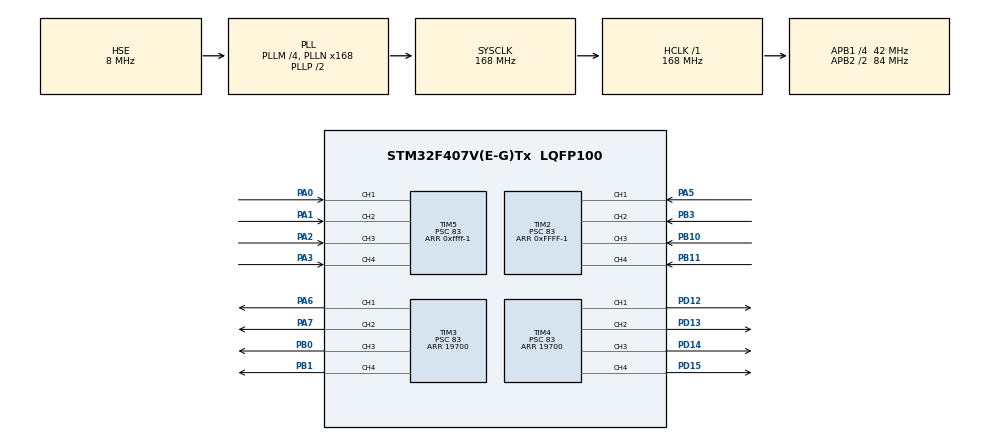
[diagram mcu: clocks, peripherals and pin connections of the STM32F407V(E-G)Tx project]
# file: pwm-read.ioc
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Mcu.Family=STM32F4
Mcu.Name=STM32F407V(E-G)Tx
Mcu.Package=LQFP100
NVIC.PriorityGroup=NVIC_PRIORITYGROUP_4
NVIC.TIM2_IRQn=true\:0\:0\:false\:false\:true\:true\:true\:true
NVIC.TIM5_IRQn=true\:0\:0\:false\:false\:true\:true\:true\:true
PA0-WKUP.Signal=S_TIM5_CH1
PA1.Signal=S_TIM5_CH2
PA2.Signal=S_TIM5_CH3
PA3.Signal=S_TIM5_CH4
PA5.Signal=S_TIM2_CH1_ETR
PA6.Signal=S_TIM3_CH1
PA7.Signal=S_TIM3_CH2
PB0.Signal=S_TIM3_CH3
PB1.Signal=S_TIM3_CH4
PB10.Signal=S_TIM2_CH3
PB11.Signal=S_TIM2_CH4
PB3.Signal=S_TIM2_CH2
PD12.Signal=S_TIM4_CH1
PD13.Signal=S_TIM4_CH2
PD14.Signal=S_TIM4_CH3
PD15.Signal=S_TIM4_CH4
PH0-OSC_IN.Mode=HSE-External-Oscillator
PH0-OSC_IN.Signal=RCC_OSC_IN
PH1-OSC_OUT.Mode=HSE-External-Oscillator
PH1-OSC_OUT.Signal=RCC_OSC_OUT
ProjectManager.HeapSize=0x200
ProjectManager.StackSize=0x400
ProjectManager.TargetToolchain=STM32CubeIDE
RCC.48MHZClocksFreq_Value=84000000
RCC.AHBFreq_Value=168000000
RCC.APB1CLKDivider=RCC_HCLK_DIV4
RCC.APB1Freq_Value=42000000
RCC.APB1TimFreq_Value=84000000
RCC.APB2CLKDivider=RCC_HCLK_DIV2
RCC.APB2Freq_Value=84000000
RCC.APB2TimFreq_Value=168000000
RCC.CortexFreq_Value=168000000
RCC.HCLKFreq_Value=168000000
RCC.HSE_VALUE=8000000
RCC.HSI_VALUE=16000000
RCC.LSE_VALUE=32768
RCC.PLLM=4
RCC.PLLN=168
RCC.PLLSourceVirtual=RCC_PLLSOURCE_HSE
RCC.SYSCLKFreq_VALUE=168000000
RCC.SYSCLKSource=RCC_SYSCLKSOURCE_PLLCLK
RCC.VCOOutputFreq_Value=336000000
SH.S_TIM2_CH1_ETR.0=TIM2_CH1,Input_Capture1_from_TI1
SH.S_TIM2_CH2.0=TIM2_CH2,Input_Capture2_from_TI2
SH.S_TIM2_CH3.0=TIM2_CH3,Input_Capture3_from_TI3
SH.S_TIM2_CH4.0=TIM2_CH4,Input_Capture4_from_TI4
SH.S_TIM3_CH1.0=TIM3_CH1,PWM Generation1 CH1
SH.S_TIM3_CH2.0=TIM3_CH2,PWM Generation2 CH2
SH.S_TIM3_CH3.0=TIM3_CH3,PWM Generation3 CH3
SH.S_TIM3_CH4.0=TIM3_CH4,PWM Generation4 CH4
SH.S_TIM4_CH1.0=TIM4_CH1,PWM Generation1 CH1
SH.S_TIM4_CH2.0=TIM4_CH2,PWM Generation2 CH2
SH.S_TIM4_CH3.0=TIM4_CH3,PWM Generation3 CH3
SH.S_TIM4_CH4.0=TIM4_CH4,PWM Generation4 CH4
SH.S_TIM5_CH1.0=TIM5_CH1,Input_Capture1_from_TI1
SH.S_TIM5_CH2.0=TIM5_CH2,Input_Capture2_from_TI2
SH.S_TIM5_CH3.0=TIM5_CH3,Input_Capture3_from_TI3
SH.S_TIM5_CH4.0=TIM5_CH4,Input_Capture4_from_TI4
TIM2.Channel-Input_Capture1_from_TI1=TIM_CHANNEL_1
TIM2.Channel-Input_Capture2_from_TI2=TIM_CHANNEL_2
TIM2.Channel-Input_Capture3_from_TI3=TIM_CHANNEL_3
TIM2.Channel-Input_Capture4_from_TI4=TIM_CHANNEL_4
TIM2.Period=0xFFFF-1
TIM2.Prescaler=83
TIM3.Channel-PWM\ Generation1\ CH1=TIM_CHANNEL_1
TIM3.Channel-PWM\ Generation2\ CH2=TIM_CHANNEL_2
TIM3.Channel-PWM\ Generation3\ CH3=TIM_CHANNEL_3
TIM3.Channel-PWM\ Generation4\ CH4=TIM_CHANNEL_4
TIM3.Period=19700
TIM3.Prescaler=83
TIM4.Channel-PWM\ Generation1\ CH1=TIM_CHANNEL_1
TIM4.Channel-PWM\ Generation2\ CH2=TIM_CHANNEL_2
TIM4.Channel-PWM\ Generation3\ CH3=TIM_CHANNEL_3
TIM4.Channel-PWM\ Generation4\ CH4=TIM_CHANNEL_4
TIM4.Period=19700
TIM4.Prescaler=83
TIM5.Channel-Input_Capture1_from_TI1=TIM_CHANNEL_1
TIM5.Channel-Input_Capture2_from_TI2=TIM_CHANNEL_2
TIM5.Channel-Input_Capture3_from_TI3=TIM_CHANNEL_3
TIM5.Channel-Input_Capture4_from_TI4=TIM_CHANNEL_4
TIM5.Period=0xffff-1
TIM5.Prescaler=83
VP_TIM2_VS_ClockSourceINT.Mode=Internal
VP_TIM3_VS_ClockSourceINT.Mode=Internal
VP_TIM4_VS_ClockSourceINT.Mode=Internal
VP_TIM5_VS_ClockSourceINT.Mode=Internal
board=custom

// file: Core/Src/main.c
/* USER CODE BEGIN Header */
/**
  ******************************************************************************
  * @file           : main.c
  * @brief          : Main program body
  ******************************************************************************
  * @attention
  *
  * Copyright (c) 2024 STMicroelectronics.
  * All rights reserved.
  *
  * This software is licensed under terms that can be found in the LICENSE file
  * in the root directory of this software component.
  * If no LICENSE file comes with this software, it is provided AS-IS.
  *
  ******************************************************************************
  */
/* USER CODE END Header */
#include "main.h"

TIM_HandleTypeDef htim2;
TIM_HandleTypeDef htim3;
TIM_HandleTypeDef htim4;
TIM_HandleTypeDef htim5;

void SystemClock_Config(void);
static void MX_GPIO_Init(void);
static void MX_TIM2_Init(void);
static void MX_TIM3_Init(void);
static void MX_TIM4_Init(void);
static void MX_TIM5_Init(void);

/* USER CODE BEGIN 0 */

volatile uint32_t IC_Val1_CH1 = 0, IC_Val2_CH1 = 0;
volatile uint32_t IC_Val1_CH2 = 0, IC_Val2_CH2 = 0;
volatile uint32_t IC_Val1_CH3 = 0, IC_Val2_CH3 = 0;
volatile uint32_t IC_Val1_CH4 = 0, IC_Val2_CH4 = 0;
volatile uint32_t IC_Val1_CH5 = 0, IC_Val2_CH5 = 0;
volatile uint32_t IC_Val1_CH6 = 0, IC_Val2_CH6 = 0;
volatile uint32_t IC_Val1_CH7 = 0, IC_Val2_CH7 = 0;
volatile uint32_t IC_Val1_CH8 = 0, IC_Val2_CH8 = 0;

volatile uint32_t Difference_CH1 = 0, Difference_CH2 = 0, Difference_CH3 = 0, Difference_CH4 = 0, Difference_CH5 = 0 , Difference_CH6 = 0, Difference_CH7 = 0, Difference_CH8 = 0;
uint8_t Is_First_Captured_CH1 = 0, Is_First_Captured_CH2 = 0;
uint8_t Is_First_Captured_CH3 = 0, Is_First_Captured_CH4 = 0;
uint8_t Is_First_Captured_CH5 = 0, Is_First_Captured_CH6 = 0;
uint8_t Is_First_Captured_CH7 = 0, Is_First_Captured_CH8 = 0;

volatile uint32_t Frequency_CH1 = 0, Frequency_CH2 = 0;
volatile uint32_t Frequency_CH3 = 0, Frequency_CH4 = 0;
volatile uint32_t Frequency_CH5 = 0, Frequency_CH6 = 0;
volatile uint32_t Frequency_CH7 = 0, Frequency_CH8 = 0;

void HAL_TIM_IC_CaptureCallback(TIM_HandleTypeDef *htim)
{

	if(htim ==&htim2)
	{

	/* Channel 1 */
	    if (htim->Channel == HAL_TIM_ACTIVE_CHANNEL_1)
	    {
	        if (Is_First_Captured_CH1 == 0)
	        {
	            IC_Val1_CH1 = HAL_TIM_ReadCapturedValue(htim, TIM_CHANNEL_1);
	            Is_First_Captured_CH1 = 1;
	            __HAL_TIM_SET_CAPTUREPOLARITY(htim, TIM_CHANNEL_1, TIM_INPUTCHANNELPOLARITY_FALLING);
	        }
	        else
	        {
	            IC_Val2_CH1 = HAL_TIM_ReadCapturedValue(htim, TIM_CHANNEL_1);
	            __HAL_TIM_SET_COUNTER(htim, 0);

	            if (IC_Val2_CH1 > IC_Val1_CH1)
	            	{
	            		Difference_CH1 = IC_Val2_CH1 - IC_Val1_CH1;
	                 }
	            else
	                {
	                            Difference_CH1 = (0xFFFF - IC_Val1_CH1) + IC_Val2_CH1 + 1;
	                }
	            Frequency_CH1 = (HAL_RCC_GetPCLK1Freq()*2) / (42*Difference_CH1);
	            Is_First_Captured_CH1 = 0;
	            __HAL_TIM_SET_CAPTUREPOLARITY(htim, TIM_CHANNEL_1, TIM_INPUTCHANNELPOLARITY_RISING);
	        }
	    }

	    /* Channel 2 */
	    if (htim->Channel == HAL_TIM_ACTIVE_CHANNEL_2)
	    {
	        if (Is_First_Captured_CH2 == 0)
	        {
	            IC_Val1_CH2 = HAL_TIM_ReadCapturedValue(htim, TIM_CHANNEL_2);
	            Is_First_Captured_CH2 = 1;
	            __HAL_TIM_SET_CAPTUREPOLARITY(htim, TIM_CHANNEL_2, TIM_INPUTCHANNELPOLARITY_FALLING);
	        }
	        else
	        {
	            IC_Val2_CH2 = HAL_TIM_ReadCapturedValue(htim, TIM_CHANNEL_2);
	            __HAL_TIM_SET_COUNTER(htim, 0);

	            if (IC_Val2_CH2 > IC_Val1_CH2)
	            	            	{
	            	            		Difference_CH2 = IC_Val2_CH2 - IC_Val1_CH2;
	            	                 }
	            	            else
	            	                {
	            	                            Difference_CH2 = (0xFFFF - IC_Val1_CH2) + IC_Val2_CH2 + 1;
	            	                }
	            	            Frequency_CH2 = (HAL_RCC_GetPCLK1Freq()*2) / (42*Difference_CH2);
	            Is_First_Captured_CH2 = 0;
	            __HAL_TIM_SET_CAPTUREPOLARITY(htim, TIM_CHANNEL_2, TIM_INPUTCHANNELPOLARITY_RISING);
	        }
	    }

	    /* Channel 3 */
	    if (htim->Channel == HAL_TIM_ACTIVE_CHANNEL_3)
	    {
	        if (Is_First_Captured_CH3 == 0)
	        {
	            IC_Val1_CH3 = HAL_TIM_ReadCapturedValue(htim, TIM_CHANNEL_3);
	            Is_First_Captured_CH3 = 1;
	            __HAL_TIM_SET_CAPTUREPOLARITY(htim, TIM_CHANNEL_3, TIM_INPUTCHANNELPOLARITY_FALLING);
	        }
	        else
	        {
	            IC_Val2_CH3 = HAL_TIM_ReadCapturedValue(htim, TIM_CHANNEL_3);
	            __HAL_TIM_SET_COUNTER(htim, 0);

	            if (IC_Val2_CH3 > IC_Val1_CH3)
	            	            	{
	            	            		Difference_CH3 = IC_Val2_CH3 - IC_Val1_CH3;
	            	                 }
	            	            else
	            	                {
	            	                            Difference_CH3 = (0xFFFF - IC_Val1_CH3) + IC_Val2_CH3 + 1;
	            	                }
	            	            Frequency_CH3 = (HAL_RCC_GetPCLK1Freq()*2) / (42*Difference_CH3);
	            Is_First_Captured_CH3 = 0;
	            __HAL_TIM_SET_CAPTUREPOLARITY(htim, TIM_CHANNEL_3, TIM_INPUTCHANNELPOLARITY_RISING);
	        }
	    }

	    /* Channel 4 */
	    if (htim->Channel == HAL_TIM_ACTIVE_CHANNEL_4)
	    {
	        if (Is_First_Captured_CH4 == 0)
	        {
	            IC_Val1_CH4 = HAL_TIM_ReadCapturedValue(htim, TIM_CHANNEL_4);
	            Is_First_Captured_CH4 = 1;
	            __HAL_TIM_SET_CAPTUREPOLARITY(htim, TIM_CHANNEL_4, TIM_INPUTCHANNELPOLARITY_FALLING);
	        }
	        else
	        {
	            IC_Val2_CH4 = HAL_TIM_ReadCapturedValue(htim, TIM_CHANNEL_4);
	            __HAL_TIM_SET_COUNTER(htim, 0);

	            if (IC_Val2_CH4 > IC_Val1_CH4)
	            	            	{
	            	            		Difference_CH4 = IC_Val2_CH4 - IC_Val1_CH4;
	            	                 }
	            	            else
	            	                {
	            	                            Difference_CH4 = (0xFFFF - IC_Val1_CH4) + IC_Val2_CH4 + 1;
	            	                }
	            	            Frequency_CH4 = (HAL_RCC_GetPCLK1Freq()*2) / (42*Difference_CH4);
	            Is_First_Captured_CH4 = 0;
	            __HAL_TIM_SET_CAPTUREPOLARITY(htim, TIM_CHANNEL_4, TIM_INPUTCHANNELPOLARITY_RISING);
	        }
	    }

}
	else if(htim ==&htim5)
		{

		/* Channel 1 */
		    if (htim->Channel == HAL_TIM_ACTIVE_CHANNEL_1)
		    {
		        if (Is_First_Captured_CH5 == 0)
		        {
		            IC_Val1_CH5 = HAL_TIM_ReadCapturedValue(htim, TIM_CHANNEL_1);
		            Is_First_Captured_CH5 = 1;
		            __HAL_TIM_SET_CAPTUREPOLARITY(htim, TIM_CHANNEL_1, TIM_INPUTCHANNELPOLARITY_FALLING);
		        }
		        else
		        {
		            IC_Val2_CH5 = HAL_TIM_ReadCapturedValue(htim, TIM_CHANNEL_1);
		            __HAL_TIM_SET_COUNTER(htim, 0);

		            if (IC_Val2_CH5 > IC_Val1_CH5)
		            	{
		            		Difference_CH5 = IC_Val2_CH5 - IC_Val1_CH5;
		                 }
		            else
		                {
		                            Difference_CH5 = (0xFFFF - IC_Val1_CH5) + IC_Val2_CH5 + 1;
		                }
		            Frequency_CH5 = (HAL_RCC_GetPCLK1Freq()*2) / (42*Difference_CH5);
		            Is_First_Captured_CH5 = 0;
		            __HAL_TIM_SET_CAPTUREPOLARITY(htim, TIM_CHANNEL_1, TIM_INPUTCHANNELPOLARITY_RISING);
		        }
		    }

		    /* Channel 2 */
		    if (htim->Channel == HAL_TIM_ACTIVE_CHANNEL_2)
		    {
		        if (Is_First_Captured_CH6 == 0)
		        {
		            IC_Val1_CH6 = HAL_TIM_ReadCapturedValue(htim, TIM_CHANNEL_2);
		            Is_First_Captured_CH6 = 1;
		            __HAL_TIM_SET_CAPTUREPOLARITY(htim, TIM_CHANNEL_2, TIM_INPUTCHANNELPOLARITY_FALLING);
		        }
		        else
		        {
		            IC_Val2_CH6 = HAL_TIM_ReadCapturedValue(htim, TIM_CHANNEL_2);
		            __HAL_TIM_SET_COUNTER(htim, 0);

		            if (IC_Val2_CH6 > IC_Val1_CH6)
		            	            	{
		            	            		Difference_CH6 = IC_Val2_CH6 - IC_Val1_CH6;
		            	                 }
		            	            else
		            	                {
		            	                            Difference_CH6 = (0xFFFF - IC_Val1_CH6) + IC_Val2_CH6 + 1;
		            	                }
		            	            Frequency_CH6 = (HAL_RCC_GetPCLK1Freq()*2) / (42*Difference_CH6);
		            Is_First_Captured_CH6 = 0;
		            __HAL_TIM_SET_CAPTUREPOLARITY(htim, TIM_CHANNEL_2, TIM_INPUTCHANNELPOLARITY_RISING);
		        }

		    }

		    /* Channel 3 */

		    if (htim->Channel == HAL_TIM_ACTIVE_CHANNEL_3)
		    {
		        if (Is_First_Captured_CH7 == 0)
		        {
		            IC_Val1_CH7 = HAL_TIM_ReadCapturedValue(htim, TIM_CHANNEL_3);
		            Is_First_Captured_CH7 = 1;
		            __HAL_TIM_SET_CAPTUREPOLARITY(htim, TIM_CHANNEL_3, TIM_INPUTCHANNELPOLARITY_FALLING);
		        }
		        else
		        {
		            IC_Val2_CH7 = HAL_TIM_ReadCapturedValue(htim, TIM_CHANNEL_3);
		            __HAL_TIM_SET_COUNTER(htim, 0);

		            if (IC_Val2_CH7 > IC_Val1_CH7)
		            	            	{
		            	            		Difference_CH7 = IC_Val2_CH7 - IC_Val1_CH7;
		            	                 }
		            	            else
		            	                {
		            	                            Difference_CH7 = (0xFFFF - IC_Val1_CH7) + IC_Val2_CH7 + 1;
		            	                }
		            	            Frequency_CH7 = (HAL_RCC_GetPCLK1Freq()*2) / (42*Difference_CH7);
		            Is_First_Captured_CH7 = 0;
		            __HAL_TIM_SET_CAPTUREPOLARITY(htim, TIM_CHANNEL_3, TIM_INPUTCHANNELPOLARITY_RISING);
		        }
		    }

		    /* Channel 4 */
		    if (htim->Channel == HAL_TIM_ACTIVE_CHANNEL_4)
		    {
		        if (Is_First_Captured_CH8 == 0)
		        {
		            IC_Val1_CH8 = HAL_TIM_ReadCapturedValue(htim, TIM_CHANNEL_4);
		            Is_First_Captured_CH8 = 1;
		            __HAL_TIM_SET_CAPTUREPOLARITY(htim, TIM_CHANNEL_4, TIM_INPUTCHANNELPOLARITY_FALLING);
		        }
		        else
		        {
		            IC_Val2_CH8 = HAL_TIM_ReadCapturedValue(htim, TIM_CHANNEL_4);
		            __HAL_TIM_SET_COUNTER(htim, 0);

		            if (IC_Val2_CH8 > IC_Val1_CH8)
		            	            	{
		            	            		Difference_CH8 = IC_Val2_CH8 - IC_Val1_CH8;
		            	                 }
		            	            else
		            	                {
		            	                            Difference_CH8 = (0xFFFF - IC_Val1_CH8) + IC_Val2_CH8 + 1;
		            	                }
		            	            Frequency_CH8 = (HAL_RCC_GetPCLK1Freq()*2) / (42*Difference_CH8);
		            Is_First_Captured_CH8 = 0;
		            __HAL_TIM_SET_CAPTUREPOLARITY(htim, TIM_CHANNEL_4, TIM_INPUTCHANNELPOLARITY_RISING);
		        }
		    }

	}

}

/* USER CODE END 0 */

int main(void)
{

  /* MCU Configuration--------------------------------------------------------*/

  /* Reset of all peripherals, Initializes the Flash interface and the Systick. */
  HAL_Init();

  /* Configure the system clock */
  SystemClock_Config();

  /* Initialize all configured peripherals */
  MX_GPIO_Init();
  MX_TIM2_Init();
  MX_TIM3_Init();
  MX_TIM4_Init();
  MX_TIM5_Init();
  /* USER CODE BEGIN 2 */

  // TIM2 and TIM5 Interrupt Start
  HAL_TIM_IC_Start_IT(&htim2, TIM_CHANNEL_1);
  HAL_TIM_IC_Start_IT(&htim2, TIM_CHANNEL_2);
  HAL_TIM_IC_Start_IT(&htim2, TIM_CHANNEL_3);
  HAL_TIM_IC_Start_IT(&htim2, TIM_CHANNEL_4);

  HAL_TIM_IC_Start_IT(&htim5, TIM_CHANNEL_1);
  HAL_TIM_IC_Start_IT(&htim5, TIM_CHANNEL_2);
  HAL_TIM_IC_Start_IT(&htim5, TIM_CHANNEL_3);
  HAL_TIM_IC_Start_IT(&htim5, TIM_CHANNEL_4);

  //TIM3 PWM START

  HAL_TIM_PWM_Start(&htim3, TIM_CHANNEL_1);
  HAL_TIM_PWM_Start(&htim3, TIM_CHANNEL_2);
  HAL_TIM_PWM_Start(&htim3, TIM_CHANNEL_3);
  HAL_TIM_PWM_Start(&htim3, TIM_CHANNEL_4);

  //TIM4 PWM START
  HAL_TIM_PWM_Start(&htim4, TIM_CHANNEL_1);
  HAL_TIM_PWM_Start(&htim4, TIM_CHANNEL_2);
  HAL_TIM_PWM_Start(&htim4, TIM_CHANNEL_3);
  HAL_TIM_PWM_Start(&htim4, TIM_CHANNEL_4);

  __HAL_TIM_SET_COMPARE(&htim3,TIM_CHANNEL_1,0);
  __HAL_TIM_SET_COMPARE(&htim3,TIM_CHANNEL_2,0);
  __HAL_TIM_SET_COMPARE(&htim3,TIM_CHANNEL_3,0);
  __HAL_TIM_SET_COMPARE(&htim3,TIM_CHANNEL_4,0);

  __HAL_TIM_SET_COMPARE(&htim4,TIM_CHANNEL_1,0);
  __HAL_TIM_SET_COMPARE(&htim4,TIM_CHANNEL_2,0);
  __HAL_TIM_SET_COMPARE(&htim4,TIM_CHANNEL_3,0);
  __HAL_TIM_SET_COMPARE(&htim4,TIM_CHANNEL_4,0);

  /* USER CODE END 2 */

  /* Infinite loop */
  /* USER CODE BEGIN WHILE */
  while (1)
  {

	  __HAL_TIM_SET_COMPARE(&htim3,TIM_CHANNEL_1,Difference_CH1);
	  __HAL_TIM_SET_COMPARE(&htim3,TIM_CHANNEL_2,Difference_CH2);
	  __HAL_TIM_SET_COMPARE(&htim3,TIM_CHANNEL_3,Difference_CH3);
	  __HAL_TIM_SET_COMPARE(&htim3,TIM_CHANNEL_4,Difference_CH4);

	  __HAL_TIM_SET_COMPARE(&htim4,TIM_CHANNEL_1,Difference_CH5);
	  __HAL_TIM_SET_COMPARE(&htim4,TIM_CHANNEL_2,Difference_CH6);
	  __HAL_TIM_SET_COMPARE(&htim4,TIM_CHANNEL_3,Difference_CH7);
	  __HAL_TIM_SET_COMPARE(&htim4,TIM_CHANNEL_4,Difference_CH8);

    /* USER CODE END WHILE */

  }
}

void SystemClock_Config(void)
{
  RCC_OscInitTypeDef RCC_OscInitStruct = {0};
  RCC_ClkInitTypeDef RCC_ClkInitStruct = {0};

  /** Configure the main internal regulator output voltage
  */
  __HAL_RCC_PWR_CLK_ENABLE();
  __HAL_PWR_VOLTAGESCALING_CONFIG(PWR_REGULATOR_VOLTAGE_SCALE1);

  /** Initializes the RCC Oscillators according to the specified parameters
  * in the RCC_OscInitTypeDef structure.
  */
  RCC_OscInitStruct.OscillatorType = RCC_OSCILLATORTYPE_LSI|RCC_OSCILLATORTYPE_HSE;
  RCC_OscInitStruct.HSEState = RCC_HSE_ON;
  RCC_OscInitStruct.LSIState = RCC_LSI_ON;
  RCC_OscInitStruct.PLL.PLLState = RCC_PLL_ON;
  RCC_OscInitStruct.PLL.PLLSource = RCC_PLLSOURCE_HSE;
  RCC_OscInitStruct.PLL.PLLM = 4;
  RCC_OscInitStruct.PLL.PLLN = 168;
  RCC_OscInitStruct.PLL.PLLP = RCC_PLLP_DIV2;
  RCC_OscInitStruct.PLL.PLLQ = 4;
  if (HAL_RCC_OscConfig(&RCC_OscInitStruct) != HAL_OK)
  {
    Error_Handler();
  }

  /** Initializes the CPU, AHB and APB buses clocks
  */
  RCC_ClkInitStruct.ClockType = RCC_CLOCKTYPE_HCLK|RCC_CLOCKTYPE_SYSCLK
                              |RCC_CLOCKTYPE_PCLK1|RCC_CLOCKTYPE_PCLK2;
  RCC_ClkInitStruct.SYSCLKSource = RCC_SYSCLKSOURCE_PLLCLK;
  RCC_ClkInitStruct.AHBCLKDivider = RCC_SYSCLK_DIV1;
  RCC_ClkInitStruct.APB1CLKDivider = RCC_HCLK_DIV4;
  RCC_ClkInitStruct.APB2CLKDivider = RCC_HCLK_DIV2;

  if (HAL_RCC_ClockConfig(&RCC_ClkInitStruct, FLASH_LATENCY_5) != HAL_OK)
  {
    Error_Handler();
  }
}

static void MX_TIM2_Init(void)
{

  TIM_ClockConfigTypeDef sClockSourceConfig = {0};
  TIM_MasterConfigTypeDef sMasterConfig = {0};
  TIM_IC_InitTypeDef sConfigIC = {0};

  htim2.Instance = TIM2;
  htim2.Init.Prescaler = 83;
  htim2.Init.CounterMode = TIM_COUNTERMODE_UP;
  htim2.Init.Period = 0xFFFF-1;
  htim2.Init.ClockDivision = TIM_CLOCKDIVISION_DIV1;
  htim2.Init.AutoReloadPreload = TIM_AUTORELOAD_PRELOAD_DISABLE;
  if (HAL_TIM_Base_Init(&htim2) != HAL_OK)
  {
    Error_Handler();
  }
  sClockSourceConfig.ClockSource = TIM_CLOCKSOURCE_INTERNAL;
  if (HAL_TIM_ConfigClockSource(&htim2, &sClockSourceConfig) != HAL_OK)
  {
    Error_Handler();
  }
  if (HAL_TIM_IC_Init(&htim2) != HAL_OK)
  {
    Error_Handler();
  }
  sMasterConfig.MasterOutputTrigger = TIM_TRGO_RESET;
  sMasterConfig.MasterSlaveMode = TIM_MASTERSLAVEMODE_DISABLE;
  if (HAL_TIMEx_MasterConfigSynchronization(&htim2, &sMasterConfig) != HAL_OK)
  {
    Error_Handler();
  }
  sConfigIC.ICPolarity = TIM_INPUTCHANNELPOLARITY_RISING;
  sConfigIC.ICSelection = TIM_ICSELECTION_DIRECTTI;
  sConfigIC.ICPrescaler = TIM_ICPSC_DIV1;
  sConfigIC.ICFilter = 0;
  if (HAL_TIM_IC_ConfigChannel(&htim2, &sConfigIC, TIM_CHANNEL_1) != HAL_OK)
  {
    Error_Handler();
  }
  if (HAL_TIM_IC_ConfigChannel(&htim2, &sConfigIC, TIM_CHANNEL_2) != HAL_OK)
  {
    Error_Handler();
  }
  if (HAL_TIM_IC_ConfigChannel(&htim2, &sConfigIC, TIM_CHANNEL_3) != HAL_OK)
  {
    Error_Handler();
  }
  if (HAL_TIM_IC_ConfigChannel(&htim2, &sConfigIC, TIM_CHANNEL_4) != HAL_OK)
  {
    Error_Handler();
  }

}

static void MX_TIM3_Init(void)
{

  TIM_ClockConfigTypeDef sClockSourceConfig = {0};
  TIM_MasterConfigTypeDef sMasterConfig = {0};
  TIM_OC_InitTypeDef sConfigOC = {0};

  htim3.Instance = TIM3;
  htim3.Init.Prescaler = 83;
  htim3.Init.CounterMode = TIM_COUNTERMODE_UP;
  htim3.Init.Period = 19700;
  htim3.Init.ClockDivision = TIM_CLOCKDIVISION_DIV1;
  htim3.Init.AutoReloadPreload = TIM_AUTORELOAD_PRELOAD_DISABLE;
  if (HAL_TIM_Base_Init(&htim3) != HAL_OK)
  {
    Error_Handler();
  }
  sClockSourceConfig.ClockSource = TIM_CLOCKSOURCE_INTERNAL;
  if (HAL_TIM_ConfigClockSource(&htim3, &sClockSourceConfig) != HAL_OK)
  {
    Error_Handler();
  }
  if (HAL_TIM_PWM_Init(&htim3) != HAL_OK)
  {
    Error_Handler();
  }
  sMasterConfig.MasterOutputTrigger = TIM_TRGO_RESET;
  sMasterConfig.MasterSlaveMode = TIM_MASTERSLAVEMODE_DISABLE;
  if (HAL_TIMEx_MasterConfigSynchronization(&htim3, &sMasterConfig) != HAL_OK)
  {
    Error_Handler();
  }
  sConfigOC.OCMode = TIM_OCMODE_PWM1;
  sConfigOC.Pulse = 0;
  sConfigOC.OCPolarity = TIM_OCPOLARITY_HIGH;
  sConfigOC.OCFastMode = TIM_OCFAST_DISABLE;
  if (HAL_TIM_PWM_ConfigChannel(&htim3, &sConfigOC, TIM_CHANNEL_1) != HAL_OK)
  {
    Error_Handler();
  }
  if (HAL_TIM_PWM_ConfigChannel(&htim3, &sConfigOC, TIM_CHANNEL_2) != HAL_OK)
  {
    Error_Handler();
  }
  if (HAL_TIM_PWM_ConfigChannel(&htim3, &sConfigOC, TIM_CHANNEL_3) != HAL_OK)
  {
    Error_Handler();
  }
  if (HAL_TIM_PWM_ConfigChannel(&htim3, &sConfigOC, TIM_CHANNEL_4) != HAL_OK)
  {
    Error_Handler();
  }
  HAL_TIM_MspPostInit(&htim3);

}

static void MX_TIM4_Init(void)
{

  TIM_ClockConfigTypeDef sClockSourceConfig = {0};
  TIM_MasterConfigTypeDef sMasterConfig = {0};
  TIM_OC_InitTypeDef sConfigOC = {0};

  htim4.Instance = TIM4;
  htim4.Init.Prescaler = 83;
  htim4.Init.CounterMode = TIM_COUNTERMODE_UP;
  htim4.Init.Period = 19700;
  htim4.Init.ClockDivision = TIM_CLOCKDIVISION_DIV1;
  htim4.Init.AutoReloadPreload = TIM_AUTORELOAD_PRELOAD_DISABLE;
  if (HAL_TIM_Base_Init(&htim4) != HAL_OK)
  {
    Error_Handler();
  }
  sClockSourceConfig.ClockSource = TIM_CLOCKSOURCE_INTERNAL;
  if (HAL_TIM_ConfigClockSource(&htim4, &sClockSourceConfig) != HAL_OK)
  {
    Error_Handler();
  }
  if (HAL_TIM_PWM_Init(&htim4) != HAL_OK)
  {
    Error_Handler();
  }
  sMasterConfig.MasterOutputTrigger = TIM_TRGO_RESET;
  sMasterConfig.MasterSlaveMode = TIM_MASTERSLAVEMODE_DISABLE;
  if (HAL_TIMEx_MasterConfigSynchronization(&htim4, &sMasterConfig) != HAL_OK)
  {
    Error_Handler();
  }
  sConfigOC.OCMode = TIM_OCMODE_PWM1;
  sConfigOC.Pulse = 0;
  sConfigOC.OCPolarity = TIM_OCPOLARITY_HIGH;
  sConfigOC.OCFastMode = TIM_OCFAST_DISABLE;
  if (HAL_TIM_PWM_ConfigChannel(&htim4, &sConfigOC, TIM_CHANNEL_1) != HAL_OK)
  {
    Error_Handler();
  }
  if (HAL_TIM_PWM_ConfigChannel(&htim4, &sConfigOC, TIM_CHANNEL_2) != HAL_OK)
  {
    Error_Handler();
  }
  if (HAL_TIM_PWM_ConfigChannel(&htim4, &sConfigOC, TIM_CHANNEL_3) != HAL_OK)
  {
    Error_Handler();
  }
  if (HAL_TIM_PWM_ConfigChannel(&htim4, &sConfigOC, TIM_CHANNEL_4) != HAL_OK)
  {
    Error_Handler();
  }
  HAL_TIM_MspPostInit(&htim4);

}

static void MX_TIM5_Init(void)
{

  TIM_ClockConfigTypeDef sClockSourceConfig = {0};
  TIM_MasterConfigTypeDef sMasterConfig = {0};
  TIM_IC_InitTypeDef sConfigIC = {0};

  htim5.Instance = TIM5;
  htim5.Init.Prescaler = 83;
  htim5.Init.CounterMode = TIM_COUNTERMODE_UP;
  htim5.Init.Period = 0xffff-1;
  htim5.Init.ClockDivision = TIM_CLOCKDIVISION_DIV1;
  htim5.Init.AutoReloadPreload = TIM_AUTORELOAD_PRELOAD_DISABLE;
  if (HAL_TIM_Base_Init(&htim5) != HAL_OK)
  {
    Error_Handler();
  }
  sClockSourceConfig.ClockSource = TIM_CLOCKSOURCE_INTERNAL;
  if (HAL_TIM_ConfigClockSource(&htim5, &sClockSourceConfig) != HAL_OK)
  {
    Error_Handler();
  }
  if (HAL_TIM_IC_Init(&htim5) != HAL_OK)
  {
    Error_Handler();
  }
  sMasterConfig.MasterOutputTrigger = TIM_TRGO_RESET;
  sMasterConfig.MasterSlaveMode = TIM_MASTERSLAVEMODE_DISABLE;
  if (HAL_TIMEx_MasterConfigSynchronization(&htim5, &sMasterConfig) != HAL_OK)
  {
    Error_Handler();
  }
  sConfigIC.ICPolarity = TIM_INPUTCHANNELPOLARITY_RISING;
  sConfigIC.ICSelection = TIM_ICSELECTION_DIRECTTI;
  sConfigIC.ICPrescaler = TIM_ICPSC_DIV1;
  sConfigIC.ICFilter = 0;
  if (HAL_TIM_IC_ConfigChannel(&htim5, &sConfigIC, TIM_CHANNEL_1) != HAL_OK)
  {
    Error_Handler();
  }
  if (HAL_TIM_IC_ConfigChannel(&htim5, &sConfigIC, TIM_CHANNEL_2) != HAL_OK)
  {
    Error_Handler();
  }
  if (HAL_TIM_IC_ConfigChannel(&htim5, &sConfigIC, TIM_CHANNEL_3) != HAL_OK)
  {
    Error_Handler();
  }
  if (HAL_TIM_IC_ConfigChannel(&htim5, &sConfigIC, TIM_CHANNEL_4) != HAL_OK)
  {
    Error_Handler();
  }

}

static void MX_GPIO_Init(void)
{

  /* GPIO Ports Clock Enable */
  __HAL_RCC_GPIOH_CLK_ENABLE();
  __HAL_RCC_GPIOA_CLK_ENABLE();
  __HAL_RCC_GPIOB_CLK_ENABLE();
  __HAL_RCC_GPIOD_CLK_ENABLE();

}

void Error_Handler(void)
{
  __disable_irq();
  while (1)
  {
  }
}
